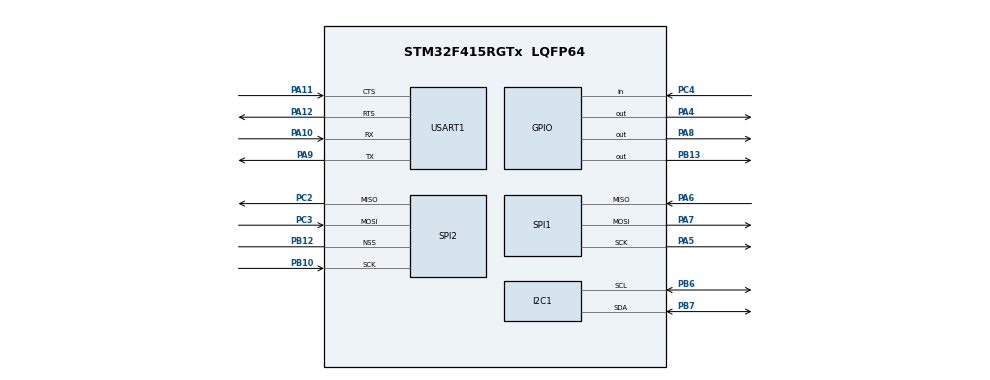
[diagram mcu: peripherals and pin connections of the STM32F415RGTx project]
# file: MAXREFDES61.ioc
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Mcu.Family=STM32F4
Mcu.Name=STM32F415RGTx
Mcu.Package=LQFP64
NVIC.PriorityGroup=NVIC_PRIORITYGROUP_0
NVIC.TIM1_UP_TIM10_IRQn=true\:0\:0
PA10.Mode=Asynchronous
PA10.Signal=USART1_RX
PA11.Mode=CTS_RTS
PA11.Signal=USART1_CTS
PA12.Mode=CTS_RTS
PA12.Signal=USART1_RTS
PA13.Mode=JTAG(5-pin)
PA13.Signal=SYS_JTMS-SWDIO
PA14.Mode=JTAG(5-pin)
PA14.Signal=SYS_JTCK-SWCLK
PA15.Mode=JTAG(5-pin)
PA15.Signal=SYS_JTDI
PA4.GPIO_Mode=GPIO_MODE_OUTPUT_PP
PA4.GPIO_PuPd=GPIO_NOPULL
PA4.GPIO_Speed=GPIO_SPEED_FAST
PA4.Signal=GPIO_Output
PA5.Mode=Full_Duplex_Master
PA5.Signal=SPI1_SCK
PA6.Mode=Full_Duplex_Master
PA6.Signal=SPI1_MISO
PA7.Mode=Full_Duplex_Master
PA7.Signal=SPI1_MOSI
PA8.GPIO_Mode=GPIO_MODE_OUTPUT_PP
PA8.GPIO_PuPd=GPIO_NOPULL
PA8.GPIO_Speed=GPIO_SPEED_HIGH
PA8.Signal=GPIO_Output
PA9.Mode=Asynchronous
PA9.Signal=USART1_TX
PB10.Mode=Full_Duplex_Slave
PB10.Signal=SPI2_SCK
PB12.Mode=NSS_Signal_Hard
PB12.Signal=SPI2_NSS
PB13.GPIO_Mode=GPIO_MODE_OUTPUT_OD
PB13.GPIO_PuPd=GPIO_PULLUP
PB13.GPIO_Speed=GPIO_SPEED_LOW
PB13.Signal=GPIO_Output
PB3.Mode=JTAG(5-pin)
PB3.Signal=SYS_JTDO-SWO
PB4.Mode=JTAG(5-pin)
PB4.Signal=SYS_JTRST
PB6.GPIO_Mode=GPIO_MODE_AF_OD
PB6.GPIO_PuPd=GPIO_PULLUP
PB6.GPIO_Speed=GPIO_SPEED_LOW
PB6.Mode=I2C
PB6.Signal=I2C1_SCL
PB7.GPIO_Mode=GPIO_MODE_AF_OD
PB7.GPIO_PuPd=GPIO_PULLUP
PB7.GPIO_Speed=GPIO_SPEED_LOW
PB7.Mode=I2C
PB7.Signal=I2C1_SDA
PC2.Mode=Full_Duplex_Slave
PC2.Signal=SPI2_MISO
PC3.Mode=Full_Duplex_Slave
PC3.Signal=SPI2_MOSI
PC4.Signal=GPIO_Input
PH0-OSC_IN.Mode=HSE-External-Clock-Source
PH0-OSC_IN.Signal=RCC_OSC_IN
PH1-OSC_OUT.Mode=HSE-External-Clock-Source
PH1-OSC_OUT.Signal=RCC_OSC_OUT
ProjectManager.TargetToolchain=MDK-ARM 4.73
RCC.APB1CLKDivider=RCC_HCLK_DIV2
RCC.HSE_VALUE=50000000
RCC.HSI_VALUE=16000000
RCC.LSE_VALUE=32768
RCC.PLLM=50
RCC.PLLN=200
RCC.PLLP=RCC_PLLP_DIV4
RCC.PLLSource=RCC_PLLSOURCE_HSE
RCC.SYSCLKSource=RCC_SYSCLKSOURCE_PLLCLK
SPI1.BaudRatePrescaler-Full_Duplex_Master=SPI_BAUDRATEPRESCALER_16
SPI1.CalculateBaudRate-Full_Duplex_Master=3.125 MBits/s
SPI1.DataSize-Full_Duplex_Master=SPI_DATASIZE_16BIT
SPI1.Mode-Full_Duplex_Master=SPI_MODE_MASTER
SPI1.VirtualNSS=VM_NSSHARD
SPI2.BaudRatePrescaler-Full_Duplex_Slave=SPI_BAUDRATEPRESCALER_2
SPI2.CalculateBaudRate-Full_Duplex_Slave=12.5 MBits/s
SPI2.VirtualNSS=VM_NSSHARD
SPI2.VirtualType-Full_Duplex_Slave=VM_SLAVE
USART1.BaudRate-Asynchronous=921600
VP_TIM1_VS_ClockSourceINT.Mode=Internal

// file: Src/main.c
/** \file main.c ******************************************************
 *
 *             Project: maxrefdes61#
 *            Filename: main.c
 *         Description: This module contains the Main application for the
 *                      maxrefdes61 customized firmware
 *
 *    Revision History:
 *\n                    6/11/2014    Rev 01.00    GL    Initial release.
 *
 *  --------------------------------------------------------------------
 *
 *  This code follows the following naming conventions:
 *
 *\n    char                    chPmodValue
 *\n    char (array)            sPmodString[16]
 *\n    float                   fPmodValue
 *\n    int                     nPmodValue
 *\n    int (array)             anPmodValue[16]
 *\n    uint16_t                uPmodValue
 *\n    uint16_t (array)        auPmodValue[16]
 *\n    uint8_t                 uchPmodValue
 *\n    uint8_t (array)					auchPmodBuffer[16]
 *\n    unsigned int            unPmodValue
 *\n    int *                   punPmodValue
 *
 *  ------------------------------------------------------------------------- */
/*
 * Copyright (C) 2012 Maxim Integrated Products, Inc., All Rights Reserved.
 *
 * Permission is hereby granted, free of charge, to any person obtaining a
 * copy of this software and associated documentation files (the "Software"),
 * to deal in the Software without restriction, including without limitation
 * the rights to use, copy, modify, merge, publish, distribute, sublicense,
 * and/or sell copies of the Software, and to permit persons to whom the
 * Software is furnished to do so, subject to the following conditions:
 *
 * The above copyright notice and this permission notice shall be included
 * in all copies or substantial portions of the Software.
 *
 * THE SOFTWARE IS PROVIDED "AS IS", WITHOUT WARRANTY OF ANY KIND, EXPRESS
 * OR IMPLIED, INCLUDING BUT NOT LIMITED TO THE WARRANTIES OF
 * MERCHANTABILITY,  FITNESS FOR A PARTICULAR PURPOSE AND NONINFRINGEMENT.
 * IN NO EVENT SHALL MAXIM INTEGRATED PRODUCTS BE LIABLE FOR ANY CLAIM, DAMAGES
 * OR OTHER LIABILITY, WHETHER IN AN ACTION OF CONTRACT, TORT OR OTHERWISE,
 * ARISING FROM, OUT OF OR IN CONNECTION WITH THE SOFTWARE OR THE USE OR
 * OTHER DEALINGS IN THE SOFTWARE.
 *
 * Except as contained in this notice, the name of Maxim Integrated Products
 * shall not be used except as stated in the Maxim Integrated Products
 * Branding Policy.
 *
 * The mere transfer of this software does not imply any licenses
 * of trade secrets, proprietary technology, copyrights, patents,
 * trademarks, maskwork rights, or any other form of intellectual
 * property whatsoever. Maxim Integrated Products retains all ownership rights.
 *
 ***************************************************************************/
/*!\mainpage Main Page
 *
 * \section intro_sec Introduction
 *
 * This is the code documentation for the MAXREFDES61# subsystem reference design.
 * \n
 * \n The Files page contains the File List page and the Globals page.
 * \n
 * \n The Globals page contains the Functions, Variables, and Macros sub-pages.
 *
 * \image html MAXREFDES61_Block_Diagram.bmp "MAXREFDES61# System Block Diagram"
 * \n
 * \image html MAXREFDES61_firmware_Flowchart.bmp "MAXREFDES61# Firmware Flowchart"
 *
 */

#include "stm32f4xx_hal.h"
#include "i2c.h"
#include "spi.h"
#include "tim.h"
#include "usart.h"
#include "gpio.h"

/* USER CODE BEGIN 0 */
#include "maximDeviceSpecificUtilities.h"
#include "stdio.h"
#include "stdlib.h"
#include "string.h"
#include "menu.h"
#include "utilities.h"

#define MAJOR_REVISION 01
#define MINOR_REVISION 00

uint16_t g_auADCData[65536] __attribute__((at(0x20000000)));	//ADC sample storage

/* USER CODE END 0 */

static void SystemClock_Config(void);

int main(void)
{

  /* USER CODE BEGIN 1 */

	uint8_t uchInput=0;		//UART input storage
	int nMenuState=0; // Go to Channel Select Menu First
	int nSelectedMode;
	int nSelectedChannel;
	uint32_t unNumberOfSamplesReceived;
	uint32_t unSampleSize = 512;
	int nSampleRate = 0;
	uint8_t uchFirstEntry=1;

  /* USER CODE END 1 */

  /* MCU Configuration----------------------------------------------------------*/

  /* Reset of all peripherals, Initializes the Flash interface and the Systick. */
  HAL_Init();

	Delay(ONE_SECOND/2);	//wait a moment for the oscillator to become active.
  /* Configure the system clock */
  SystemClock_Config();

  /* Initialize all configured peripherals */
  MX_GPIO_Init();
  MX_I2C1_Init();
  MX_SPI1_Init();
  MX_SPI2_Init();
  MX_TIM1_Init();
  MX_USART1_UART_Init();

  /* USER CODE BEGIN 2 */
	HAL_GPIO_WritePin(GPIOA, GPIO_PIN_8, GPIO_PIN_SET);	//set CS pin high
	ADCInit();
	// Clear the Screen, and then display the big Maxim banner for about 2 seconds
	menu_cls();
	menu_print_maxim_banner_big();
	printf("Maxim MAXREFDES61#\r\n");
	printf("Revision v%d.%d\r\n",MAJOR_REVISION,MINOR_REVISION);

	Delay(2*ONE_SECOND);	//2 second pause
  /* USER CODE END 2 */

  /* USER CODE BEGIN 3 */

  /* Infinite loop */
  while (1)
  {
		switch(nMenuState)
		{
			case MAIN_MENU:
				menu_cls();
				menu_print_main_menu();
				do{
					if(uchFirstEntry==1)
					{
						if(!__HAL_UART_GET_FLAG(&huart1,UART_FLAG_RXNE))
						{
							Delay(ONE_SECOND);	//1 sec pause
						}
						if(!__HAL_UART_GET_FLAG(&huart1,UART_FLAG_RXNE))
						{
							Delay(ONE_SECOND);	//1 sec pause
							nMenuState = MAIN_MENU;
							break;
						}
					}
					uchFirstEntry=0;
					uchInput = getchar();
					printf("%c\r\n",uchInput);
					if(uchInput<='1')
					{
						nMenuState = MENU_CHANNEL;
						if(uchInput=='0')
						{
							nSelectedMode = START_CONTINUOUS_SAMPLING;
						}
						else
						{
							nSelectedMode = MENU_SAMPLE_SPEED;
						}
					}
				}while(uchInput>'1' || uchInput<'0');
				break;

			case MENU_CHANNEL:
				menu_cls();
				menu_print_channel_menu();
				do{
					uchInput = getchar();
					printf("%c\r\n",uchInput);
					nMenuState = nSelectedMode;
					nSelectedChannel=uchInput-48;
				}while(uchInput>'3' || uchInput<'0');
				break;

			case MENU_SAMPLE_SPEED:
				menu_cls();
				menu_print_sample_rate_menu();
				do{
					uchInput = getchar();
					printf("%c\r\n",uchInput);
					if(uchInput<='3')
					{
						nSampleRate=uchInput-48;
					}
				}while(uchInput>'3' || uchInput<'0');
				nMenuState = MENU_SAMPLE_SIZE;
				break;

			case MENU_SAMPLE_SIZE:
				menu_cls();
				menu_print_sample_size_menu();
				do{
					uchInput = getchar();
					printf("%c\r\n",uchInput);
					if(uchInput<='3')
					{
						if(uchInput=='0')
							unSampleSize=8192;
						else if(uchInput=='1')
							unSampleSize=16384;
						else if(uchInput=='2')
							unSampleSize=32768;
						else
							unSampleSize=65536;
					}
				}while(uchInput>'3' || uchInput<'0');
				nMenuState = START_BLOCK_SAMPLING;
				break;

			case START_CONTINUOUS_SAMPLING:
				menu_cls();
				ContinuousSampling(nSelectedChannel);
				nMenuState=MAIN_MENU;
				break;

			case START_BLOCK_SAMPLING:
				menu_cls();
				printf("Press the ESC key to stop sampling\n\r\n");
				printf("Sampling...\r\n");

				unNumberOfSamplesReceived=StartSampling(nSelectedChannel, unSampleSize, nSampleRate, g_auADCData);
				printf("Done sampling.  Data are stored in the \"Samples\" array\r\n");
				printf("Do you want to read the sampled data? (Y/N) \r\n>>");
				do{

					uchInput = getchar();
					printf("%c\r\n",uchInput);
					if(uchInput=='n' || uchInput=='N')
					{
						nMenuState=MAIN_MENU;
						break;
					}

					uint32_t i;
					menu_cls();
					printf("Press the ESC key to stop reading back the data\n\r\n");
					Delay(3*ONE_SECOND);
					printf("Channel %i\r\n", nSelectedChannel);
					for(i=0; i<unNumberOfSamplesReceived; i++)
					{
						if(uchInput==0x1B)
						{
							nMenuState=MAIN_MENU;
							break;
						}
						if(__HAL_UART_GET_FLAG(&huart1,UART_FLAG_RXNE))
						{
							if(getchar()==0x1B)
							{
								nMenuState=MAIN_MENU;
								break;
							}
						}
						printf("%i\r\n", g_auADCData[i]);
					}

					if(i!=unNumberOfSamplesReceived)	//if the Escape key is pressed before the for loop is finished
						break;	//go back to the main menu
					printf("End of samples.  Press any key to go back to the main menu\r\n");
					nMenuState=MAIN_MENU;
					uchInput=getchar();
					break;
				}while(uchInput!='n' && uchInput!='y' && uchInput!='Y' && uchInput!='N');

				break;

			default:
				printf("Invalid Keypress, please try again\r\n");
				Delay(3*ONE_SECOND);
				nMenuState = MAIN_MENU;
				break;
		}
	}
  /* USER CODE END 3 */

}

/** System Clock Configuration
*/
static void SystemClock_Config(void)
{

  RCC_ClkInitTypeDef RCC_ClkInitStruct;
  RCC_OscInitTypeDef RCC_OscInitStruct;

  __PWR_CLK_ENABLE();

  __HAL_PWR_VOLTAGESCALING_CONFIG(PWR_REGULATOR_VOLTAGE_SCALE2);

  RCC_OscInitStruct.OscillatorType = RCC_OSCILLATORTYPE_HSI|RCC_OSCILLATORTYPE_HSE;
  RCC_OscInitStruct.HSEState = RCC_HSE_BYPASS;
  RCC_OscInitStruct.HSIState = RCC_HSI_ON;
  RCC_OscInitStruct.HSICalibrationValue = 6;
  RCC_OscInitStruct.PLL.PLLState = RCC_PLL_ON;
  RCC_OscInitStruct.PLL.PLLSource = RCC_PLLSOURCE_HSI;
  RCC_OscInitStruct.PLL.PLLM = 16;
  RCC_OscInitStruct.PLL.PLLN = 192;
  RCC_OscInitStruct.PLL.PLLP = RCC_PLLP_DIV4;
  RCC_OscInitStruct.PLL.PLLQ = 4;
  HAL_RCC_OscConfig(&RCC_OscInitStruct);

  RCC_ClkInitStruct.ClockType = RCC_CLOCKTYPE_SYSCLK|RCC_CLOCKTYPE_PCLK1;
  RCC_ClkInitStruct.SYSCLKSource = RCC_SYSCLKSOURCE_HSE;
  RCC_ClkInitStruct.AHBCLKDivider = RCC_SYSCLK_DIV1;
  RCC_ClkInitStruct.APB1CLKDivider = RCC_HCLK_DIV2;
  RCC_ClkInitStruct.APB2CLKDivider = RCC_HCLK_DIV1;
  HAL_RCC_ClockConfig(&RCC_ClkInitStruct, FLASH_LATENCY_1);

}

/************************ (C) COPYRIGHT STMicroelectronics *****END OF FILE****/
